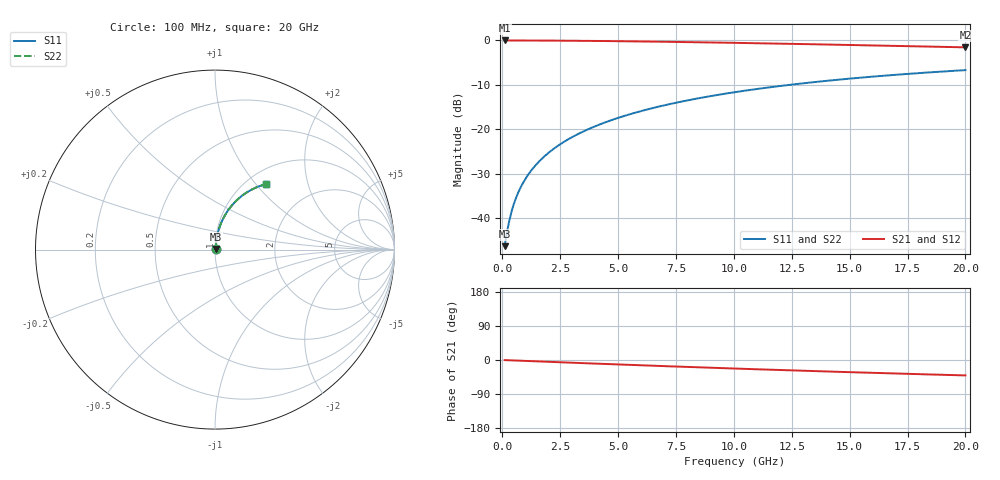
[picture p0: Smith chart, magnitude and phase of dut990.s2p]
! Touchstone file exported from HFSS 2024.1.0
!  File:  C:/UserFiles/LocalFiles/RDL_TSV_Batchsim/temp_RDL_top_990_1779939603.aedt
!  Generated:  11:42:29 AM May 28, 2026
!  Design:  RDL_top
!  Project:  temp_RDL_top_990_1779939603
!  Setup:  Setup1
!  Solution:  Sweep
! Variables:
!  dtsv = 10.80580581um
!  hbump = 3um
!  htsv = 54.17um
!  ldown = 100um
!  lrdl = 529.37um
!  p = 40
!  p1 = 47.71um
!  rhole = 1um
!  t = 450um
!  tdown = 3.915915916um
!  trdl = 4.09um
!  wdown = 15.38538539um
!  wrdl = 11.77um
# GHz S MA R 50.000000
! Terminal data exported
! Port[1] = Box2_T1
! Port[2] = Box2_T2
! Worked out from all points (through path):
!   200 points, 100 MHz to 20 GHz, reference 50 ohm
!   highest |S21| = -0.03 dB at 100 MHz (marker M1); lowest = -1.6 dB at 20 GHz (marker M2)
!   group delay of S21, straight-line fit = 5.65 ps
!   lowest |S11| = -46.3 dB at 100 MHz (marker M3), VSWR 1.01, Z = 50.4 + j0.282 ohm
!   |S11| at or under -10 dB: start of sweep to 12.43 GHz
!   |S22| runs from -46.3 to -6.7 dB; largest |S21 - S12| = 4.1e-15
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0.1  0.004847 35.3  0.996 -0.2  0.996 -0.2  0.004847 35.3
! Gamma 0 0 0 0
! Port Impedance 50 0 50 0
0.2  0.006889 54.2  0.996 -0.5  0.996 -0.5  0.006889 54.2
0.3  0.009319 63.6  0.9959 -0.7  0.9959 -0.7  0.009319 63.6
0.4  0.01188 68.8  0.9957 -1.0  0.9957 -1.0  0.01188 68.8
0.5  0.01449 72.1  0.9956 -1.2  0.9956 -1.2  0.01449 72.1
0.6  0.01712 74.4  0.9955 -1.5  0.9955 -1.5  0.01712 74.4
0.8  0.0224 77.2  0.9952 -1.9  0.9952 -1.9  0.0224 77.2
1.1  0.03037 79.4  0.9946 -2.7  0.9946 -2.7  0.03037 79.4
1.5  0.04104 80.7  0.9938 -3.6  0.9938 -3.6  0.04104 80.7
1.8  0.04906 81.1  0.993 -4.3  0.993 -4.3  0.04906 81.1
2.1  0.05709 81.3  0.9921 -5.0  0.9921 -5.0  0.05709 81.3
2.7  0.07315 81.1  0.99 -6.4  0.99 -6.4  0.07315 81.1
3.5  0.09449 80.3  0.9864 -8.3  0.9864 -8.3  0.09449 80.3
4.2  0.1131 79.4  0.9827 -9.9  0.9827 -9.9  0.1131 79.4
5  0.1342 78.2  0.9778 -11.8  0.9778 -11.8  0.1342 78.1
5.9  0.1576 76.7  0.9716 -13.8  0.9716 -13.8  0.1576 76.7
6.8  0.1808 75.1  0.9647 -15.7  0.9647 -15.7  0.1808 75.1
8.3  0.2187 72.4  0.9522 -19.0  0.9522 -19.0  0.2187 72.4
10.1  0.2625 69.2  0.9358 -22.7  0.9358 -22.7  0.2625 69.2
13.4  0.3374 63.2  0.903 -29.1  0.903 -29.1  0.3374 63.2
16.7  0.4041 57.5  0.8683 -35.1  0.8683 -35.1  0.4041 57.5
20  0.4622 52.1  0.8333 -40.7  0.8333 -40.7  0.4621 52.1
